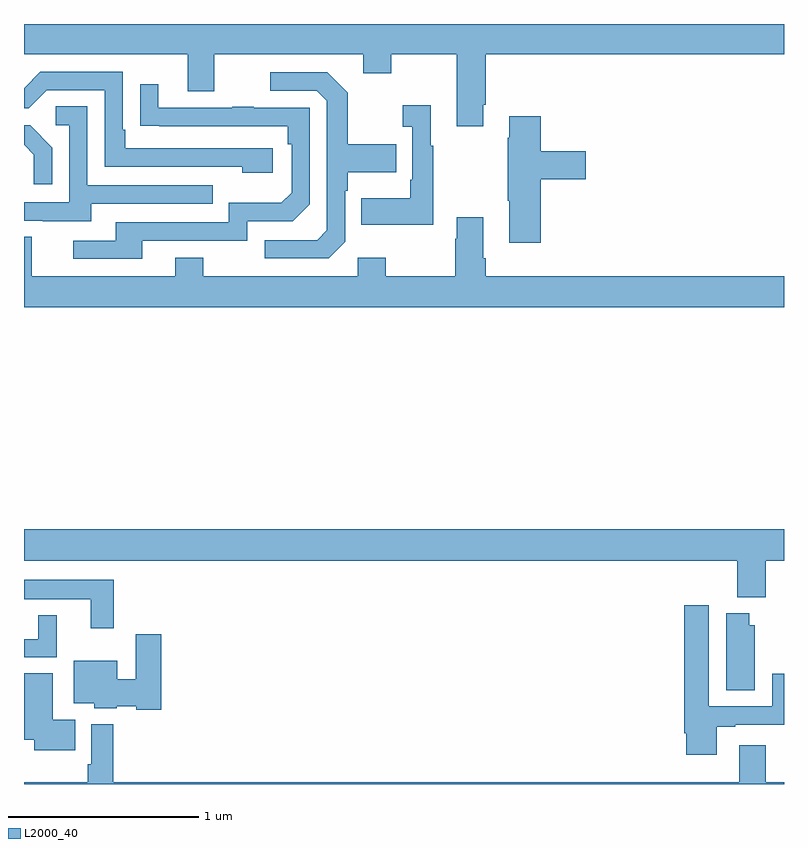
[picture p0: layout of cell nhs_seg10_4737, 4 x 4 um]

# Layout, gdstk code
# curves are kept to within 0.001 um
import gdstk
lib = gdstk.Library(unit=1e-6, precision=1e-09)
def P(c, l, *ps):  # polygons
    for p in ps: c.add(gdstk.Polygon(p, *l))
L2000_40 = (2000, 40)

nhs_seg10_4737 = lib.new_cell('nhs_seg10_4737')
P(nhs_seg10_4737, L2000_40, [(385.417,1276.075),(385.43,1276.075),(385.43,1276.34),(387,1276.34),(387,1276.5),(383,1276.5),(383,1276.34),(383.861,1276.34),(383.861,1276.146),(384.001,1276.146),(384.001,1276.34),(384.785,1276.34),(384.785,1276.241),(384.933,1276.241),(384.933,1276.34),(385.277,1276.34),(385.277,1275.963),(385.417,1275.963)],
  [(384.31,1275.846),(383.533,1275.846),(383.533,1275.943),(383.52,1275.943),(383.52,1276.248),(383.085,1276.248),(383,1276.163),(383,1276.056),(383.025,1276.056),(383.121,1276.152),(383.424,1276.152),(383.424,1275.75),(384.149,1275.75),(384.149,1275.716),(384.31,1275.716)],
  [(384.69,1275.354),(384.69,1275.623),(384.703,1275.623),(384.703,1275.719),(384.959,1275.719),(384.959,1275.867),(384.703,1275.867),(384.703,1276.139),(384.597,1276.245),(384.297,1276.245),(384.297,1276.149),(384.54,1276.149),(384.594,1276.095),(384.594,1275.414),(384.543,1275.363),(384.267,1275.363),(384.267,1275.267),(384.603,1275.267)],
  [(383.623,1275.36),(384.174,1275.36),(384.174,1275.462),(384.414,1275.462),(384.504,1275.552),(384.504,1276.059),(384.209,1276.059),(384.209,1276.064),(384.097,1276.064),(384.097,1276.059),(383.707,1276.059),(383.707,1276.183),(383.611,1276.183),(383.611,1275.964),(384.388,1275.963),(384.388,1275.866),(384.408,1275.866),(384.408,1275.612),(384.355,1275.559),(384.078,1275.559),(384.078,1275.456),(383.483,1275.456),(383.483,1275.36),(383.259,1275.36),(383.259,1275.264),(383.623,1275.264)],
  [(385.153,1275.859),(385.141,1275.859),(385.141,1276.072),(384.993,1276.072),(384.993,1275.959),(385.044,1275.959),(385.044,1275.679),(385.032,1275.679),(385.032,1275.583),(384.775,1275.583),(384.775,1275.443),(385.153,1275.443)],
  [(383.353,1275.555),(383.993,1275.555),(383.993,1275.651),(383.334,1275.651),(383.334,1276.067),(383.166,1276.067),(383.166,1275.966),(383.238,1275.966),(383.238,1275.561),(383,1275.561),(383,1275.465),(383.099,1275.465),(383.099,1275.461),(383.353,1275.461)],
  [(385.721,1275.683),(385.957,1275.683),(385.957,1275.83),(385.721,1275.83),(385.721,1276.015),(385.553,1276.015),(385.553,1275.902),(385.546,1275.902),(385.546,1275.571),(385.553,1275.571),(385.553,1275.348),(385.721,1275.348)],
  [(383.148,1275.85),(383.032,1275.966),(383,1275.966),(383,1275.864),(383.051,1275.813),(383.051,1275.657),(383.148,1275.657)],
  [(387,1275.172),(385.43,1275.172),(385.43,1275.268),(385.417,1275.268),(385.417,1275.484),(385.277,1275.484),(385.277,1275.371),(385.27,1275.371),(385.27,1275.172),(384.903,1275.172),(384.903,1275.271),(384.756,1275.271),(384.756,1275.172),(383.943,1275.172),(383.943,1275.271),(383.795,1275.271),(383.795,1275.172),(383.041,1275.172),(383.041,1275.38),(383,1275.38),(383,1275.008),(387,1275.008)],
  [(386.905,1273.676),(387,1273.676),(387,1273.84),(383,1273.84),(383,1273.676),(386.753,1273.676),(386.753,1273.484),(386.905,1273.484)],
  [(383.473,1273.576),(383,1273.576),(383,1273.472),(383.351,1273.472),(383.351,1273.32),(383.473,1273.32)],
  [(386.647,1272.801),(386.743,1272.801),(386.743,1272.813),(387,1272.813),(387,1273.081),(386.939,1273.081),(386.939,1272.909),(386.605,1272.909),(386.605,1273.441),(386.474,1273.441),(386.474,1272.766),(386.486,1272.766),(386.486,1272.654),(386.647,1272.654)],
  [(386.845,1273.335),(386.818,1273.335),(386.818,1273.399),(386.696,1273.399),(386.696,1272.994),(386.845,1272.994)],
  [(383.173,1273.387),(383.075,1273.387),(383.075,1273.263),(383,1273.263),(383,1273.167),(383.173,1273.167)],
  [(383.723,1273.288),(383.588,1273.288),(383.588,1273.052),(383.491,1273.052),(383.491,1273.15),(383.261,1273.15),(383.261,1272.926),(383.37,1272.926),(383.37,1272.899),(383.487,1272.899),(383.487,1272.91),(383.592,1272.91),(383.592,1272.892),(383.723,1272.892)],
  [(383.27,1272.838),(383.152,1272.838),(383.152,1273.082),(383,1273.082),(383,1272.734),(383.054,1272.734),(383.054,1272.677),(383.27,1272.677)],
  [(387,1272.508),(386.905,1272.508),(386.905,1272.703),(386.765,1272.703),(386.765,1272.508),(383.471,1272.508),(383.471,1272.814),(383.355,1272.814),(383.355,1272.604),(383.335,1272.604),(383.335,1272.508),(383,1272.508),(383,1272.5),(387,1272.5)])

lib.write_gds('nhs_seg10_4737.gds')
